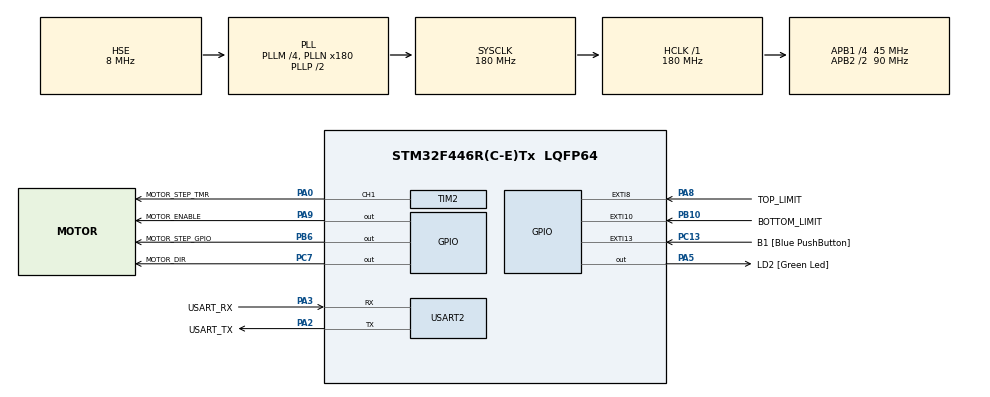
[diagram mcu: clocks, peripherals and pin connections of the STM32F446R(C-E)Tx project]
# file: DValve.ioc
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Dma.Request0=USART2_RX
Dma.Request1=USART2_TX
Dma.USART2_RX.0.Direction=DMA_PERIPH_TO_MEMORY
Dma.USART2_RX.0.FIFOMode=DMA_FIFOMODE_DISABLE
Dma.USART2_RX.0.Instance=DMA1_Stream5
Dma.USART2_RX.0.MemDataAlignment=DMA_MDATAALIGN_BYTE
Dma.USART2_RX.0.MemInc=DMA_MINC_ENABLE
Dma.USART2_RX.0.Mode=DMA_NORMAL
Dma.USART2_RX.0.PeriphDataAlignment=DMA_PDATAALIGN_BYTE
Dma.USART2_RX.0.PeriphInc=DMA_PINC_DISABLE
Dma.USART2_RX.0.Priority=DMA_PRIORITY_LOW
Dma.USART2_TX.1.Direction=DMA_MEMORY_TO_PERIPH
Dma.USART2_TX.1.FIFOMode=DMA_FIFOMODE_DISABLE
Dma.USART2_TX.1.Instance=DMA1_Stream6
Dma.USART2_TX.1.MemDataAlignment=DMA_MDATAALIGN_BYTE
Dma.USART2_TX.1.MemInc=DMA_MINC_ENABLE
Dma.USART2_TX.1.Mode=DMA_NORMAL
Dma.USART2_TX.1.PeriphDataAlignment=DMA_PDATAALIGN_BYTE
Dma.USART2_TX.1.PeriphInc=DMA_PINC_DISABLE
Dma.USART2_TX.1.Priority=DMA_PRIORITY_LOW
FREERTOS.Tasks01=defaultTask,24,128,StartDefaultTask,Default,NULL,Dynamic,NULL,NULL
Mcu.Family=STM32F4
Mcu.Name=STM32F446R(C-E)Tx
Mcu.Package=LQFP64
NVIC.DMA1_Stream5_IRQn=true\:5\:0\:false\:false\:true\:true\:false\:true\:true
NVIC.DMA1_Stream6_IRQn=true\:5\:0\:false\:false\:true\:true\:false\:true\:true
NVIC.EXTI15_10_IRQn=true\:5\:0\:false\:false\:true\:true\:true\:true\:true
NVIC.EXTI9_5_IRQn=true\:5\:0\:false\:false\:true\:true\:true\:true\:true
NVIC.PriorityGroup=NVIC_PRIORITYGROUP_4
NVIC.TIM6_DAC_IRQn=true\:15\:0\:false\:false\:true\:false\:false\:true\:true
NVIC.TimeBase=TIM6_DAC_IRQn
NVIC.TimeBaseIP=TIM6
NVIC.USART2_IRQn=true\:5\:0\:false\:false\:true\:true\:true\:true\:true
PA0-WKUP.GPIO_Label=MOTOR_STEP_TMR
PA0-WKUP.Signal=S_TIM2_CH1_ETR
PA13.GPIO_Label=TMS
PA13.Mode=Serial_Wire
PA13.Signal=SYS_JTMS-SWDIO
PA14.GPIO_Label=TCK
PA14.Mode=Serial_Wire
PA14.Signal=SYS_JTCK-SWCLK
PA2.GPIO_Label=USART_TX
PA2.Mode=Asynchronous
PA2.Signal=USART2_TX
PA3.GPIO_Label=USART_RX
PA3.Mode=Asynchronous
PA3.Signal=USART2_RX
PA5.GPIO_Label=LD2 [Green Led]
PA5.Signal=GPIO_Output
PA8.GPIO_Label=TOP_LIMIT
PA8.GPIO_ModeDefaultEXTI=GPIO_MODE_IT_FALLING
PA8.Signal=GPXTI8
PA9.GPIO_Label=MOTOR_ENABLE
PA9.Signal=GPIO_Output
PB10.GPIO_Label=BOTTOM_LIMIT
PB10.GPIO_ModeDefaultEXTI=GPIO_MODE_IT_FALLING
PB10.Signal=GPXTI10
PB3.GPIO_Label=SWO
PB3.Signal=SYS_JTDO-SWO
PB6.GPIO_Label=MOTOR_STEP_GPIO
PB6.Signal=GPIO_Output
PC13.GPIO_Label=B1 [Blue PushButton]
PC13.GPIO_ModeDefaultEXTI=GPIO_MODE_IT_FALLING
PC13.Signal=GPXTI13
PC14-OSC32_IN.Signal=RCC_OSC32_IN
PC15-OSC32_OUT.Signal=RCC_OSC32_OUT
PC7.GPIO_Label=MOTOR_DIR
PC7.Signal=GPIO_Output
PH0-OSC_IN.Mode=HSE-External-Oscillator
PH0-OSC_IN.Signal=RCC_OSC_IN
PH1-OSC_OUT.Mode=HSE-External-Oscillator
PH1-OSC_OUT.Signal=RCC_OSC_OUT
ProjectManager.HeapSize=0x200
ProjectManager.StackSize=0x400
ProjectManager.TargetToolchain=CMake
RCC.AHBFreq_Value=180000000
RCC.APB1CLKDivider=RCC_HCLK_DIV4
RCC.APB1Freq_Value=45000000
RCC.APB1TimFreq_Value=90000000
RCC.APB2CLKDivider=RCC_HCLK_DIV2
RCC.APB2Freq_Value=90000000
RCC.APB2TimFreq_Value=180000000
RCC.CortexFreq_Value=180000000
RCC.FLatency-AdvancedSettings=FLASH_LATENCY_5
RCC.HCLKFreq_Value=180000000
RCC.HSE_VALUE=8000000
RCC.HSI_VALUE=16000000
RCC.LSE_VALUE=32768
RCC.PLLM=4
RCC.PLLN=180
RCC.PLLSourceVirtual=RCC_PLLSOURCE_HSE
RCC.SYSCLKFreq_VALUE=180000000
RCC.SYSCLKSource=RCC_SYSCLKSOURCE_PLLCLK
RCC.USBFreq_Value=180000000
RCC.VCOOutputFreq_Value=360000000
SH.S_TIM2_CH1_ETR.0=TIM2_CH1,PWM Generation1 CH1
TIM2.AutoReloadPreload=TIM_AUTORELOAD_PRELOAD_DISABLE
TIM2.Channel-PWM\ Generation1\ CH1=TIM_CHANNEL_1
TIM2.OCMode_PWM-PWM\ Generation1\ CH1=TIM_OCMODE_PWM2
TIM2.Period=1000-1
TIM2.Prescaler=90-1
TIM2.Pulse-PWM\ Generation1\ CH1=10
USART2.VirtualMode=VM_ASYNC
VP_FREERTOS_VS_CMSIS_V2.Mode=CMSIS_V2
VP_SYS_VS_tim6.Mode=TIM6
VP_TIM2_VS_ClockSourceINT.Mode=Internal
board=NUCLEO-F446RE

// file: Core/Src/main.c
/* USER CODE BEGIN Header */
/**
  ******************************************************************************
  * @file           : main.c
  * @brief          : Main program body
  ******************************************************************************
  * @attention
  *
  * Copyright (c) 2025 STMicroelectronics.
  * All rights reserved.
  *
  * This software is licensed under terms that can be found in the LICENSE file
  * in the root directory of this software component.
  * If no LICENSE file comes with this software, it is provided AS-IS.
  *
  ******************************************************************************
  */
/* USER CODE END Header */
#include "main.h"
#include "cmsis_os.h"

/* USER CODE BEGIN Includes */
#include "isd04_driver.h"
#include "limit_switch.h"

/* USER CODE END Includes */

TIM_HandleTypeDef htim2;

UART_HandleTypeDef huart2;
DMA_HandleTypeDef hdma_usart2_rx;
DMA_HandleTypeDef hdma_usart2_tx;

/* Definitions for defaultTask */
osThreadId_t defaultTaskHandle;
const osThreadAttr_t defaultTask_attributes = {
  .name = "defaultTask",
  .stack_size = 128 * 4,
  .priority = (osPriority_t) osPriorityNormal,
};

void SystemClock_Config(void);
static void MX_GPIO_Init(void);
static void MX_DMA_Init(void);
static void MX_TIM2_Init(void);
static void MX_USART2_UART_Init(void);
void StartDefaultTask(void *argument);

int main(void)
{

  /* MCU Configuration--------------------------------------------------------*/

  /* Reset of all peripherals, Initializes the Flash interface and the Systick. */
  HAL_Init();

  /* Configure the system clock */
  SystemClock_Config();

  /* Initialize all configured peripherals */
  MX_GPIO_Init();
  MX_DMA_Init();
  MX_TIM2_Init();
  MX_USART2_UART_Init();
  /* USER CODE BEGIN 2 */

  // Initialize the limit switch module
  limit_switch_init();

  // Initialize the ISD04 motor driver
  Isd04Config driver_config;
  isd04_driver_get_default_config(&driver_config);

  // Configure the driver settings
  driver_config.pwm_frequency_hz = 1000;  // 1kHz step frequency
  driver_config.max_speed = 20;         // Max 20 steps/sec
  driver_config.microstep = ISD04_MICROSTEP_200;  // 200 steps/rev
  driver_config.phase_current_ma = 2800;  // 2.8A phase current

  // Define hardware pins (based on your STM32 CubeMX configuration)
  // Step pin is not needed when using timer control
  Isd04Hardware driver_hw;
  driver_hw.dir_port = MOTOR_DIR_GPIO_Port;
  driver_hw.dir_pin = MOTOR_DIR_Pin;
  driver_hw.ena_port = MOTOR_ENABLE_GPIO_Port;
  driver_hw.ena_pin = MOTOR_ENABLE_Pin;

  // Get the singleton driver instance and initialize it
  Isd04Driver *motor_driver = isd04_driver_get_instance();
  if (motor_driver != NULL) {
    isd04_driver_init(motor_driver, &driver_config, &driver_hw);

    // Bind the timer for step pulse generation (using TIM2)
    isd04_driver_bind_step_timer(motor_driver, &htim2);

    // Enable the motor driver
    isd04_driver_enable(motor_driver, true);

    // Set initial direction (forward)
    isd04_driver_set_direction(motor_driver, true);

    // Set speed to 50 steps/sec
    isd04_driver_set_speed(motor_driver, 50);
  }

  //   // Now test timer PWM pulse generation - create discrete pulses
  //   for (int i = 0; i < 5; i++) {
  //     HAL_TIM_PWM_Start(&htim2, TIM_CHANNEL_1);  // Start PWM
  //     HAL_Delay(10000);  // Let it run for 1ms (more than our 50μs pulse)
  //     HAL_TIM_PWM_Stop(&htim2, TIM_CHANNEL_1);  // Stop PWM
  //     HAL_Delay(500);  // Wait 500ms between test pulses
  //   }
  // }

  /* USER CODE END 2 */

  /* Init scheduler */
  osKernelInitialize();

  /* Create the thread(s) */
  /* creation of defaultTask */
  defaultTaskHandle = osThreadNew(StartDefaultTask, NULL, &defaultTask_attributes);

  /* USER CODE BEGIN RTOS_THREADS */
  /* creation of limitSwitchTask */
  limitSwitchTaskHandle = osThreadNew(limit_switch_task, NULL, &limitSwitchTask_attributes);
  /* USER CODE END RTOS_THREADS */

  /* USER CODE BEGIN RTOS_EVENTS */
  /* Create event flags for limit switch handling */
  limitSwitchEventsHandle = osEventFlagsNew(&limitSwitchEvents_attributes);

  // Enable GPIO interrupts for limit switches
  HAL_NVIC_SetPriority(EXTI15_10_IRQn, 5, 0);
  HAL_NVIC_EnableIRQ(EXTI15_10_IRQn);
  HAL_NVIC_SetPriority(EXTI9_5_IRQn, 5, 0);
  HAL_NVIC_EnableIRQ(EXTI9_5_IRQn);
  /* USER CODE END RTOS_EVENTS */

  /* Start scheduler */
  osKernelStart();

  /* We should never get here as control is now taken by the scheduler */

  /* Infinite loop */
  while (1)
  {

  }
}

void SystemClock_Config(void)
{
  RCC_OscInitTypeDef RCC_OscInitStruct = {0};
  RCC_ClkInitTypeDef RCC_ClkInitStruct = {0};

  /** Configure the main internal regulator output voltage
  */
  __HAL_RCC_PWR_CLK_ENABLE();
  __HAL_PWR_VOLTAGESCALING_CONFIG(PWR_REGULATOR_VOLTAGE_SCALE1);

  /** Initializes the RCC Oscillators according to the specified parameters
  * in the RCC_OscInitTypeDef structure.
  */
  RCC_OscInitStruct.OscillatorType = RCC_OSCILLATORTYPE_HSE;
  RCC_OscInitStruct.HSEState = RCC_HSE_ON;
  RCC_OscInitStruct.PLL.PLLState = RCC_PLL_ON;
  RCC_OscInitStruct.PLL.PLLSource = RCC_PLLSOURCE_HSE;
  RCC_OscInitStruct.PLL.PLLM = 4;
  RCC_OscInitStruct.PLL.PLLN = 180;
  RCC_OscInitStruct.PLL.PLLP = RCC_PLLP_DIV2;
  RCC_OscInitStruct.PLL.PLLQ = 2;
  RCC_OscInitStruct.PLL.PLLR = 2;
  if (HAL_RCC_OscConfig(&RCC_OscInitStruct) != HAL_OK)
  {
    Error_Handler();
  }

  /** Activate the Over-Drive mode
  */
  if (HAL_PWREx_EnableOverDrive() != HAL_OK)
  {
    Error_Handler();
  }

  /** Initializes the CPU, AHB and APB buses clocks
  */
  RCC_ClkInitStruct.ClockType = RCC_CLOCKTYPE_HCLK|RCC_CLOCKTYPE_SYSCLK
                              |RCC_CLOCKTYPE_PCLK1|RCC_CLOCKTYPE_PCLK2;
  RCC_ClkInitStruct.SYSCLKSource = RCC_SYSCLKSOURCE_PLLCLK;
  RCC_ClkInitStruct.AHBCLKDivider = RCC_SYSCLK_DIV1;
  RCC_ClkInitStruct.APB1CLKDivider = RCC_HCLK_DIV4;
  RCC_ClkInitStruct.APB2CLKDivider = RCC_HCLK_DIV2;

  if (HAL_RCC_ClockConfig(&RCC_ClkInitStruct, FLASH_LATENCY_5) != HAL_OK)
  {
    Error_Handler();
  }
}

static void MX_TIM2_Init(void)
{

  TIM_ClockConfigTypeDef sClockSourceConfig = {0};
  TIM_MasterConfigTypeDef sMasterConfig = {0};
  TIM_OC_InitTypeDef sConfigOC = {0};

  htim2.Instance = TIM2;
  htim2.Init.Prescaler = 90-1;
  htim2.Init.CounterMode = TIM_COUNTERMODE_UP;
  htim2.Init.Period = 1000-1;
  htim2.Init.ClockDivision = TIM_CLOCKDIVISION_DIV1;
  htim2.Init.AutoReloadPreload = TIM_AUTORELOAD_PRELOAD_DISABLE;
  if (HAL_TIM_Base_Init(&htim2) != HAL_OK)
  {
    Error_Handler();
  }
  sClockSourceConfig.ClockSource = TIM_CLOCKSOURCE_INTERNAL;
  if (HAL_TIM_ConfigClockSource(&htim2, &sClockSourceConfig) != HAL_OK)
  {
    Error_Handler();
  }
  if (HAL_TIM_PWM_Init(&htim2) != HAL_OK)
  {
    Error_Handler();
  }
  sMasterConfig.MasterOutputTrigger = TIM_TRGO_RESET;
  sMasterConfig.MasterSlaveMode = TIM_MASTERSLAVEMODE_DISABLE;
  if (HAL_TIMEx_MasterConfigSynchronization(&htim2, &sMasterConfig) != HAL_OK)
  {
    Error_Handler();
  }
  sConfigOC.OCMode = TIM_OCMODE_PWM2;
  sConfigOC.Pulse = 20;
  sConfigOC.OCPolarity = TIM_OCPOLARITY_LOW;
  sConfigOC.OCFastMode = TIM_OCFAST_DISABLE;
  if (HAL_TIM_PWM_ConfigChannel(&htim2, &sConfigOC, TIM_CHANNEL_1) != HAL_OK)
  {
    Error_Handler();
  }
  /* USER CODE BEGIN TIM2_Init 2 */

  if (HAL_TIM_PWM_ConfigChannel(&htim2, &sConfigOC, TIM_CHANNEL_1) != HAL_OK)
  {
    Error_Handler();
  }

  /* USER CODE END TIM2_Init 2 */
  HAL_TIM_MspPostInit(&htim2);

}

static void MX_USART2_UART_Init(void)
{

  huart2.Instance = USART2;
  huart2.Init.BaudRate = 115200;
  huart2.Init.WordLength = UART_WORDLENGTH_8B;
  huart2.Init.StopBits = UART_STOPBITS_1;
  huart2.Init.Parity = UART_PARITY_NONE;
  huart2.Init.Mode = UART_MODE_TX_RX;
  huart2.Init.HwFlowCtl = UART_HWCONTROL_NONE;
  huart2.Init.OverSampling = UART_OVERSAMPLING_16;
  if (HAL_UART_Init(&huart2) != HAL_OK)
  {
    Error_Handler();
  }

}

static void MX_DMA_Init(void)
{

  /* DMA controller clock enable */
  __HAL_RCC_DMA1_CLK_ENABLE();

  /* DMA interrupt init */
  /* DMA1_Stream5_IRQn interrupt configuration */
  HAL_NVIC_SetPriority(DMA1_Stream5_IRQn, 5, 0);
  HAL_NVIC_EnableIRQ(DMA1_Stream5_IRQn);
  /* DMA1_Stream6_IRQn interrupt configuration */
  HAL_NVIC_SetPriority(DMA1_Stream6_IRQn, 5, 0);
  HAL_NVIC_EnableIRQ(DMA1_Stream6_IRQn);

}

static void MX_GPIO_Init(void)
{
  GPIO_InitTypeDef GPIO_InitStruct = {0};

  /* GPIO Ports Clock Enable */
  __HAL_RCC_GPIOC_CLK_ENABLE();
  __HAL_RCC_GPIOH_CLK_ENABLE();
  __HAL_RCC_GPIOA_CLK_ENABLE();
  __HAL_RCC_GPIOB_CLK_ENABLE();

  /*Configure GPIO pin Output Level */
  HAL_GPIO_WritePin(GPIOA, LD2_Pin|MOTOR_ENABLE_Pin, GPIO_PIN_RESET);

  /*Configure GPIO pin Output Level */
  HAL_GPIO_WritePin(MOTOR_DIR_GPIO_Port, MOTOR_DIR_Pin, GPIO_PIN_RESET);

  /*Configure GPIO pin Output Level */
  HAL_GPIO_WritePin(MOTOR_STEP_GPIO_GPIO_Port, MOTOR_STEP_GPIO_Pin, GPIO_PIN_RESET);

  /*Configure GPIO pin : B1_Pin */
  GPIO_InitStruct.Pin = B1_Pin;
  GPIO_InitStruct.Mode = GPIO_MODE_IT_FALLING;
  GPIO_InitStruct.Pull = GPIO_NOPULL;
  HAL_GPIO_Init(B1_GPIO_Port, &GPIO_InitStruct);

  /*Configure GPIO pins : LD2_Pin MOTOR_ENABLE_Pin */
  GPIO_InitStruct.Pin = LD2_Pin|MOTOR_ENABLE_Pin;
  GPIO_InitStruct.Mode = GPIO_MODE_OUTPUT_PP;
  GPIO_InitStruct.Pull = GPIO_NOPULL;
  GPIO_InitStruct.Speed = GPIO_SPEED_FREQ_LOW;
  HAL_GPIO_Init(GPIOA, &GPIO_InitStruct);

  /*Configure GPIO pin : BOTTOM_LIMIT_Pin */
  GPIO_InitStruct.Pin = BOTTOM_LIMIT_Pin;
  GPIO_InitStruct.Mode = GPIO_MODE_IT_FALLING;
  GPIO_InitStruct.Pull = GPIO_NOPULL;
  HAL_GPIO_Init(BOTTOM_LIMIT_GPIO_Port, &GPIO_InitStruct);

  /*Configure GPIO pin : MOTOR_DIR_Pin */
  GPIO_InitStruct.Pin = MOTOR_DIR_Pin;
  GPIO_InitStruct.Mode = GPIO_MODE_OUTPUT_PP;
  GPIO_InitStruct.Pull = GPIO_NOPULL;
  GPIO_InitStruct.Speed = GPIO_SPEED_FREQ_LOW;
  HAL_GPIO_Init(MOTOR_DIR_GPIO_Port, &GPIO_InitStruct);

  /*Configure GPIO pin : TOP_LIMIT_Pin */
  GPIO_InitStruct.Pin = TOP_LIMIT_Pin;
  GPIO_InitStruct.Mode = GPIO_MODE_IT_FALLING;
  GPIO_InitStruct.Pull = GPIO_NOPULL;
  HAL_GPIO_Init(TOP_LIMIT_GPIO_Port, &GPIO_InitStruct);

  /*Configure GPIO pin : MOTOR_STEP_GPIO_Pin */
  GPIO_InitStruct.Pin = MOTOR_STEP_GPIO_Pin;
  GPIO_InitStruct.Mode = GPIO_MODE_OUTPUT_PP;
  GPIO_InitStruct.Pull = GPIO_NOPULL;
  GPIO_InitStruct.Speed = GPIO_SPEED_FREQ_LOW;
  HAL_GPIO_Init(MOTOR_STEP_GPIO_GPIO_Port, &GPIO_InitStruct);

  /* EXTI interrupt init*/
  HAL_NVIC_SetPriority(EXTI9_5_IRQn, 5, 0);
  HAL_NVIC_EnableIRQ(EXTI9_5_IRQn);

  HAL_NVIC_SetPriority(EXTI15_10_IRQn, 5, 0);
  HAL_NVIC_EnableIRQ(EXTI15_10_IRQn);

}

/* USER CODE BEGIN 4 */

/**
  * @brief  EXTI line detection callbacks.
  * @param  GPIO_Pin: Specifies the pins connected to the EXTI line.
  * @retval None
  */
void HAL_GPIO_EXTI_Callback(uint16_t GPIO_Pin)
{
  limit_switch_gpio_callback(GPIO_Pin);
}

/* USER CODE END 4 */

void StartDefaultTask(void *argument)
{
  /* USER CODE BEGIN 5 */

  // Get the motor driver instance
  Isd04Driver *motor_driver = isd04_driver_get_instance();

  // Calculate steps for full valve range (assume 4 turns average)
  const int STEPS_PER_TURN = 200;  // 200 steps/rev microstep setting
  const int TOTAL_TURNS = 4;       // Full valve range
  const int TOTAL_STEPS = STEPS_PER_TURN * TOTAL_TURNS;  // 800 steps total

  /* Infinite loop */
  for(;;)
  {
    if (motor_driver != NULL) {
      // Open valve sequence (move forward) - LED ON solid
      HAL_GPIO_WritePin(LD2_GPIO_Port, LD2_Pin, GPIO_PIN_SET);
      // Ensure automatic stepping is disabled before manual pulses
      isd04_driver_stop(motor_driver);
      isd04_driver_set_direction(motor_driver, true);  // Forward = open

      // Generate steps to fully open valve - LED blinks with each step
      for (int i = 0; i < TOTAL_STEPS; i++) {
        // Toggle LED with each step to show movement
        HAL_GPIO_TogglePin(LD2_GPIO_Port, LD2_Pin);
        isd04_driver_pulse(motor_driver);
        osDelay(100); // Shorter delay for faster visual feedback
        HAL_GPIO_TogglePin(LD2_GPIO_Port, LD2_Pin);
        osDelay(100); // Wait 200ms total between steps
      }

      // Stop and wait - LED OFF
      HAL_GPIO_WritePin(LD2_GPIO_Port, LD2_Pin, GPIO_PIN_RESET);
      osDelay(2000); // Shorter wait at full open

      // Close valve sequence (move reverse) - LED fast blink pattern
      // Ensure automatic stepping is disabled before manual pulses
      isd04_driver_stop(motor_driver);
      isd04_driver_set_direction(motor_driver, false); // Reverse = close

      // Generate steps to fully close valve - LED double blinks with each step
      for (int i = 0; i < TOTAL_STEPS; i++) {
        // Double blink pattern to indicate reverse direction
        HAL_GPIO_WritePin(LD2_GPIO_Port, LD2_Pin, GPIO_PIN_SET);
        osDelay(50);
        HAL_GPIO_WritePin(LD2_GPIO_Port, LD2_Pin, GPIO_PIN_RESET);
        osDelay(50);
        HAL_GPIO_WritePin(LD2_GPIO_Port, LD2_Pin, GPIO_PIN_SET);
        osDelay(50);
        HAL_GPIO_WritePin(LD2_GPIO_Port, LD2_Pin, GPIO_PIN_RESET);

        isd04_driver_pulse(motor_driver);
        osDelay(50); // Wait remaining 200ms total between steps
      }

      // Stop and wait - LED OFF
      HAL_GPIO_WritePin(LD2_GPIO_Port, LD2_Pin, GPIO_PIN_RESET);
      osDelay(2000); // Shorter wait at full close

    } else {
      // Error indication - LED slow blink
      HAL_GPIO_TogglePin(LD2_GPIO_Port, LD2_Pin);
      osDelay(500);
    }
  }
  /* USER CODE END 5 */
}

void HAL_TIM_PeriodElapsedCallback(TIM_HandleTypeDef *htim)
{
  if (htim->Instance == TIM6)
  {
    HAL_IncTick();
  }
}

void Error_Handler(void)
{
  __disable_irq();
  while (1)
  {
  }
}

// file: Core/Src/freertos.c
/* USER CODE BEGIN Header */
/**
  ******************************************************************************
  * File Name          : freertos.c
  * Description        : Code for freertos applications
  ******************************************************************************
  * @attention
  *
  * Copyright (c) 2025 STMicroelectronics.
  * All rights reserved.
  *
  * This software is licensed under terms that can be found in the LICENSE file
  * in the root directory of this software component.
  * If no LICENSE file comes with this software, it is provided AS-IS.
  *
  ******************************************************************************
  */
/* USER CODE END Header */

#include "FreeRTOS.h"
#include "task.h"
#include "main.h"
#include "cmsis_os.h"

/* USER CODE BEGIN Includes */
#include "main.h"  // For access to motor driver
#include "../../Drivers/isd04-motor-driver/src/isd04_driver.h"  // Driver functions
/* USER CODE END Includes */

/* USER CODE BEGIN Variables */
osThreadId_t stepperTaskHandle;
const osThreadAttr_t stepperTask_attributes = {
  .name = "stepperTask",
  .stack_size = 128 * 4,
  .priority = (osPriority_t) osPriorityNormal,
};
/* USER CODE END Variables */

/* USER CODE BEGIN FunctionPrototypes */
void StepperTask(void *argument);
/* USER CODE END FunctionPrototypes */

/* USER CODE BEGIN Application */

/**
 * @brief  Function implementing the stepper motor task.
 * @param  argument: Not used
 * @retval None
 */
void StepperTask(void *argument)
{
  Isd04Driver *motor_driver = isd04_driver_get_instance();

  /* Infinite loop */
  for(;;)
  {
    if (motor_driver != NULL) {
      int32_t speed = isd04_driver_get_speed(motor_driver);
      if (speed != 0) {
        uint32_t abs_speed = (speed > 0) ? (uint32_t)speed : (uint32_t)(-speed);
        uint32_t period_ms = 1000U / abs_speed;
        uint32_t min_period_ms = (ISD04_STEP_MIN_INTERVAL_US + 999U) / 1000U;
        if (period_ms < min_period_ms) {
          period_ms = min_period_ms;
        }
        if (period_ms == 0U) {
          period_ms = 1U;
        }
        isd04_driver_pulse(motor_driver);
        osDelay(period_ms);
        continue;
      }
    }

    osDelay(1);
  }
}

/* USER CODE END Application */
